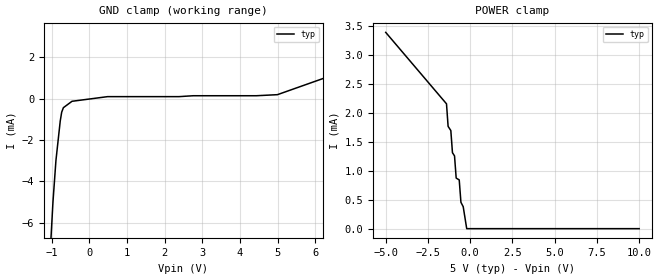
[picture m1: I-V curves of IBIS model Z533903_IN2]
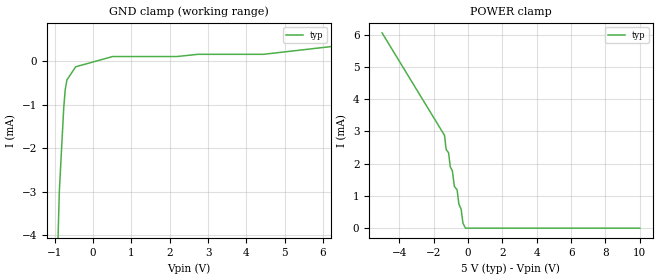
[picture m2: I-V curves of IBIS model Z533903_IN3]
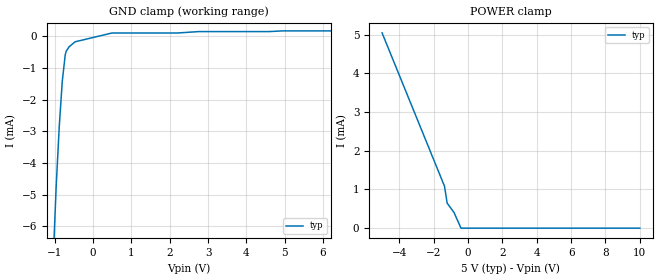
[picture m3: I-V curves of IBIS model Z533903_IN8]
| YOU ARE ONLY AUTHORIZED TO USE THIS SOFTWARE
| ACCORDING TO LICENSOR'S LICENSE RESTRICTIONS.
[IBIS Ver] 3.1
[File Name] mc10e167fn_pecl.ibs
[File Rev] 2.0
[Source] Measured and created by ICX Technology
[Date] Friday 7/14/00 9:07:49 AM
[Copyright]
| (C) COPYRIGHT 1993-2000
| MENTOR GRAPHICS CORPORATION
| ICX STANDARD LIBRARY, ICX PROJECT MODELING,
| ICX CUSTOM MODELING, ICX VENDOR MODEL
| ALL RIGHTS RESERVED.
| THE FOLLOWING ARE TRADEMARKS OR SERVICE MARKS OF
| MENTOR GRAPHICS CORPORATION:ICX (R), ICX STANDARD
| LIBRARY(R), ICX PROJECT MODELING(R), ICX CUSTOM
| MODELING(R), qualityIBIS(TM), MODELVIEWER(TM),
| AND MODELEDITOR(TM)
| ALL COPIES OF SOFTWARE, INCLUDING BUT NOT LIMITED TO
| ANY MODIFICATIONS, ENHANCEMENTS OR DERIVATIVE WORKS,
| MUST CONTAIN ALL MENTOR GRAPHICS CORPORATION'S
| NOTICES AND LEGENDS, INCLUDING THOSE EMBEDDED IN
| SOFTWARE AND THOSE AFFIXED TO SOFTWARE MEDIUM
| AND CONTAINER, AS RECEIVED FROM MENTOR GRAPHICS
| CORPORATION.
|  ZAP Model Builder 2.7
[Component] MC10E167FN_PECL
[Manufacturer] OnSemiconductor
[Package]
| variable   typ   min   max
R_pkg  .083ohms NA NA
L_pkg  4.299nH NA NA
C_pkg  1.045pF NA NA
[Pin] signal_name  model_name  R_pin  L_pin C_pin
1 VEE GND .08 3.94n .925p
2 MR Z533903_IN2 .082 4.14n .995p
3 SEL Z533903_IN3 .084 4.354n 1.065p
4 D0A Z533903_IN8 .086 4.583n 1.135p
5 D0B Z533903_IN8 .086 4.583n 1.135p
6 D1A Z533903_IN8 .084 4.354n 1.065p
7 D1B Z533903_IN8 .082 4.14n .995p
8 D2A Z533903_IN8 .08 3.94n .925p
9 D2B Z533903_IN8 .082 4.14n .995p
10 VCCO POWER .084 4.354n 1.065p
11 Q0 Z533903_OUT15 .086 4.583n 1.135p
12 Q1 Z533903_OUT15 .086 4.583n 1.135p
13 VCCO POWER .084 4.354n 1.065p
14 Q2 Z533903_OUT15 .082 4.14n .995p
15 Q3 Z533903_OUT15 .08 3.94n .925p
16 VCC POWER .082 4.14n .995p
17 Q4 Z533903_OUT15 .084 4.354n 1.065p
18 Q5 Z533903_OUT15 .086 4.583n 1.135p
19 VCCO POWER .086 4.583n 1.135p
20 NC NC .084 4.354n 1.065p
21 D3A Z533903_IN8 .082 4.14n .995p
22 D3B Z533903_IN8 .08 3.94n .925p
23 D4A Z533903_IN8 .082 4.14n .995p
24 D4B Z533903_IN8 .084 4.354n 1.065p
25 D5A Z533903_IN8 .086 4.583n 1.135p
26 D5B Z533903_IN8 .086 4.583n 1.135p
27 CLK1 Z533903_IN3 .084 4.354n 1.065p
28 CLK2 Z533903_IN3 .082 4.14n .995p
| Models and submodels in the file (4): Z533903_IN2 (Input_ECL), Z533903_IN3 (Input_ECL), Z533903_IN8 (Input_ECL), Z533903_OUT15 (Output_ECL)
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| (C) COPYRIGHT 1993-2000
| MENTOR GRAPHICS CORPORATION
| ICX STANDARD LIBRARY, ICX PROJECT MODELING,
| ICX CUSTOM MODELING, ICX VENDOR MODEL
| ALL RIGHTS RESERVED.
| THE FOLLOWING ARE TRADEMARKS OR SERVICE MARKS OF
| MENTOR GRAPHICS CORPORATION:ICX (R), ICX STANDARD
| LIBRARY(R), ICX PROJECT MODELING(R), ICX CUSTOM
| MODELING(R), qualityIBIS(TM), MODELVIEWER(TM),
| AND MODELEDITOR(TM)
| ALL COPIES OF SOFTWARE, INCLUDING BUT NOT LIMITED TO
| ANY MODIFICATIONS, ENHANCEMENTS OR DERIVATIVE WORKS,
| MUST CONTAIN ALL MENTOR GRAPHICS CORPORATION'S
| NOTICES AND LEGENDS, INCLUDING THOSE EMBEDDED IN
| SOFTWARE AND THOSE AFFIXED TO SOFTWARE MEDIUM
| AND CONTAINER, AS RECEIVED FROM MENTOR GRAPHICS
| CORPORATION.
| Model Application Version 1.89 2/18/99.
[Model] Z533903_IN2
Model_type Input_ECL
Vinl = 3.520V
Vinh = 3.830V
C_comp 4.000pF NA NA
| variable typ   min   max
[Voltage Range] 5.000V NA NA
[GND Clamp Reference] 0.000V NA NA
[POWER Clamp Reference] 5.000V NA NA
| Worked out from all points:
|   GND clamp passes 1 mA (typ) near -0.76 V on its own axis
|   POWER clamp passes 1 mA (typ) near -0.86 V on its own axis
[GND Clamp]
-5V       -246.8mA   NA         NA
-1.058V   -8.168mA   NA         NA
-963mV    -5.004mA   NA         NA
-883.8mV  -2.989mA   NA         NA
-769.4mV  -1.076mA   NA         NA
-731.1mV  -651.5uA   NA         NA
-685.5mV  -432.3uA   NA         NA
-457mV    -124.1uA   NA         NA
487.8mV   100.9uA    NA         NA
2.381V    100.9uA    NA         NA
4.995V    196.1uA    NA         NA
10V       3.426mA    NA         NA
[POWER Clamp]
-5V       3.385mA    NA         NA
-1.403V   2.153mA    NA         NA
-1.308V   1.764mA    NA         NA
-1.147V   1.692mA    NA         NA
-1.05V    1.31mA     NA         NA
-928mV    1.255mA    NA         NA
-830mV    872uA      NA         NA
-650mV    841.1uA    NA         NA
-549mV    454.3uA    NA         NA
-414mV    378.8uA    NA         NA
-207mV    0A         NA         NA
10V       0A         NA         NA
| (C) COPYRIGHT 1993-2000
| MENTOR GRAPHICS CORPORATION
| ICX STANDARD LIBRARY, ICX PROJECT MODELING,
| ICX CUSTOM MODELING, ICX VENDOR MODEL
| ALL RIGHTS RESERVED.
| THE FOLLOWING ARE TRADEMARKS OR SERVICE MARKS OF
| MENTOR GRAPHICS CORPORATION:ICX (R), ICX STANDARD
| LIBRARY(R), ICX PROJECT MODELING(R), ICX CUSTOM
| MODELING(R), qualityIBIS(TM), MODELVIEWER(TM),
| AND MODELEDITOR(TM)
| ALL COPIES OF SOFTWARE, INCLUDING BUT NOT LIMITED TO
| ANY MODIFICATIONS, ENHANCEMENTS OR DERIVATIVE WORKS,
| MUST CONTAIN ALL MENTOR GRAPHICS CORPORATION'S
| NOTICES AND LEGENDS, INCLUDING THOSE EMBEDDED IN
| SOFTWARE AND THOSE AFFIXED TO SOFTWARE MEDIUM
| AND CONTAINER, AS RECEIVED FROM MENTOR GRAPHICS
| CORPORATION.
| Model Application Version 1.89 2/18/99.
[Model] Z533903_IN3
Model_type Input_ECL
Vinl = 3.520V
Vinh = 3.830V
C_comp 4.000pF NA NA
| variable typ   min   max
[Voltage Range] 5.000V NA NA
[GND Clamp Reference] 0.000V NA NA
[POWER Clamp Reference] 5.000V NA NA
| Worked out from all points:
|   GND clamp passes 1 mA (typ) near -0.76 V on its own axis
|   POWER clamp passes 1 mA (typ) near -0.59 V on its own axis
[GND Clamp]
-5V       -282.4mA   NA         NA
-1.057V   -8.517mA   NA         NA
-883.8mV  -3.001mA   NA         NA
-769mV    -1.086mA   NA         NA
-730.6mV  -668.7uA   NA         NA
-685.8mV  -437.3uA   NA         NA
-457.2mV  -135.4uA   NA         NA
507.7mV   99.53uA    NA         NA
2.182V    99.53uA    NA         NA
2.74V     150.8uA    NA         NA
4.446V    150.8uA    NA         NA
10V       709.3uA    NA         NA
[POWER Clamp]
-5V       6.056mA    NA         NA
-1.366V   2.879mA    NA         NA
-1.269V   2.436mA    NA         NA
-1.128V   2.338mA    NA         NA
-1.03V    1.902mA    NA         NA
-908mV    1.777mA    NA         NA
-791mV    1.295mA    NA         NA
-631mV    1.187mA    NA         NA
-530mV    748.2uA    NA         NA
-293mV    155uA      NA         NA
-146.5mV  0A         NA         NA
10V       0A         NA         NA
| (C) COPYRIGHT 1993-2000
| MENTOR GRAPHICS CORPORATION
| ICX STANDARD LIBRARY, ICX PROJECT MODELING,
| ICX CUSTOM MODELING, ICX VENDOR MODEL
| ALL RIGHTS RESERVED.
| THE FOLLOWING ARE TRADEMARKS OR SERVICE MARKS OF
| MENTOR GRAPHICS CORPORATION:ICX (R), ICX STANDARD
| LIBRARY(R), ICX PROJECT MODELING(R), ICX CUSTOM
| MODELING(R), qualityIBIS(TM), MODELVIEWER(TM),
| AND MODELEDITOR(TM)
| ALL COPIES OF SOFTWARE, INCLUDING BUT NOT LIMITED TO
| ANY MODIFICATIONS, ENHANCEMENTS OR DERIVATIVE WORKS,
| MUST CONTAIN ALL MENTOR GRAPHICS CORPORATION'S
| NOTICES AND LEGENDS, INCLUDING THOSE EMBEDDED IN
| SOFTWARE AND THOSE AFFIXED TO SOFTWARE MEDIUM
| AND CONTAINER, AS RECEIVED FROM MENTOR GRAPHICS
| CORPORATION.
| Model Application Version 1.89 2/18/99.
[Model] Z533903_IN8
Model_type Input_ECL
Vinl = 3.520V
Vinh = 3.830V
C_comp 4.000pF NA NA
| variable typ   min   max
[Voltage Range] 5.000V NA NA
[GND Clamp Reference] 0.000V NA NA
[POWER Clamp Reference] 5.000V NA NA
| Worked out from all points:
|   GND clamp passes 1 mA (typ) near -0.77 V on its own axis
|   POWER clamp passes 1 mA (typ) near -1.34 V on its own axis
[GND Clamp]
-5V       -206.8mA   NA         NA
-1.077V   -8.033mA   NA         NA
-964.4mV  -4.709mA   NA         NA
-883.8mV  -2.819mA   NA         NA
-806.1mV  -1.415mA   NA         NA
-730.8mV  -597.3uA   NA         NA
-703.5mV  -474uA     NA         NA
-626.3mV  -329uA     NA         NA
-469.7mV  -175.4uA   NA         NA
487.9mV   101.3uA    NA         NA
4.956V    168.4uA    NA         NA
10V       168.4uA    NA         NA
[POWER Clamp]
-5V       5.045mA    NA         NA
-1.367V   1.085mA    NA         NA
-1.211V   646.6uA    NA         NA
-811mV    403.6uA    NA         NA
-405.5mV  0A         NA         NA
10V       0A         NA         NA
